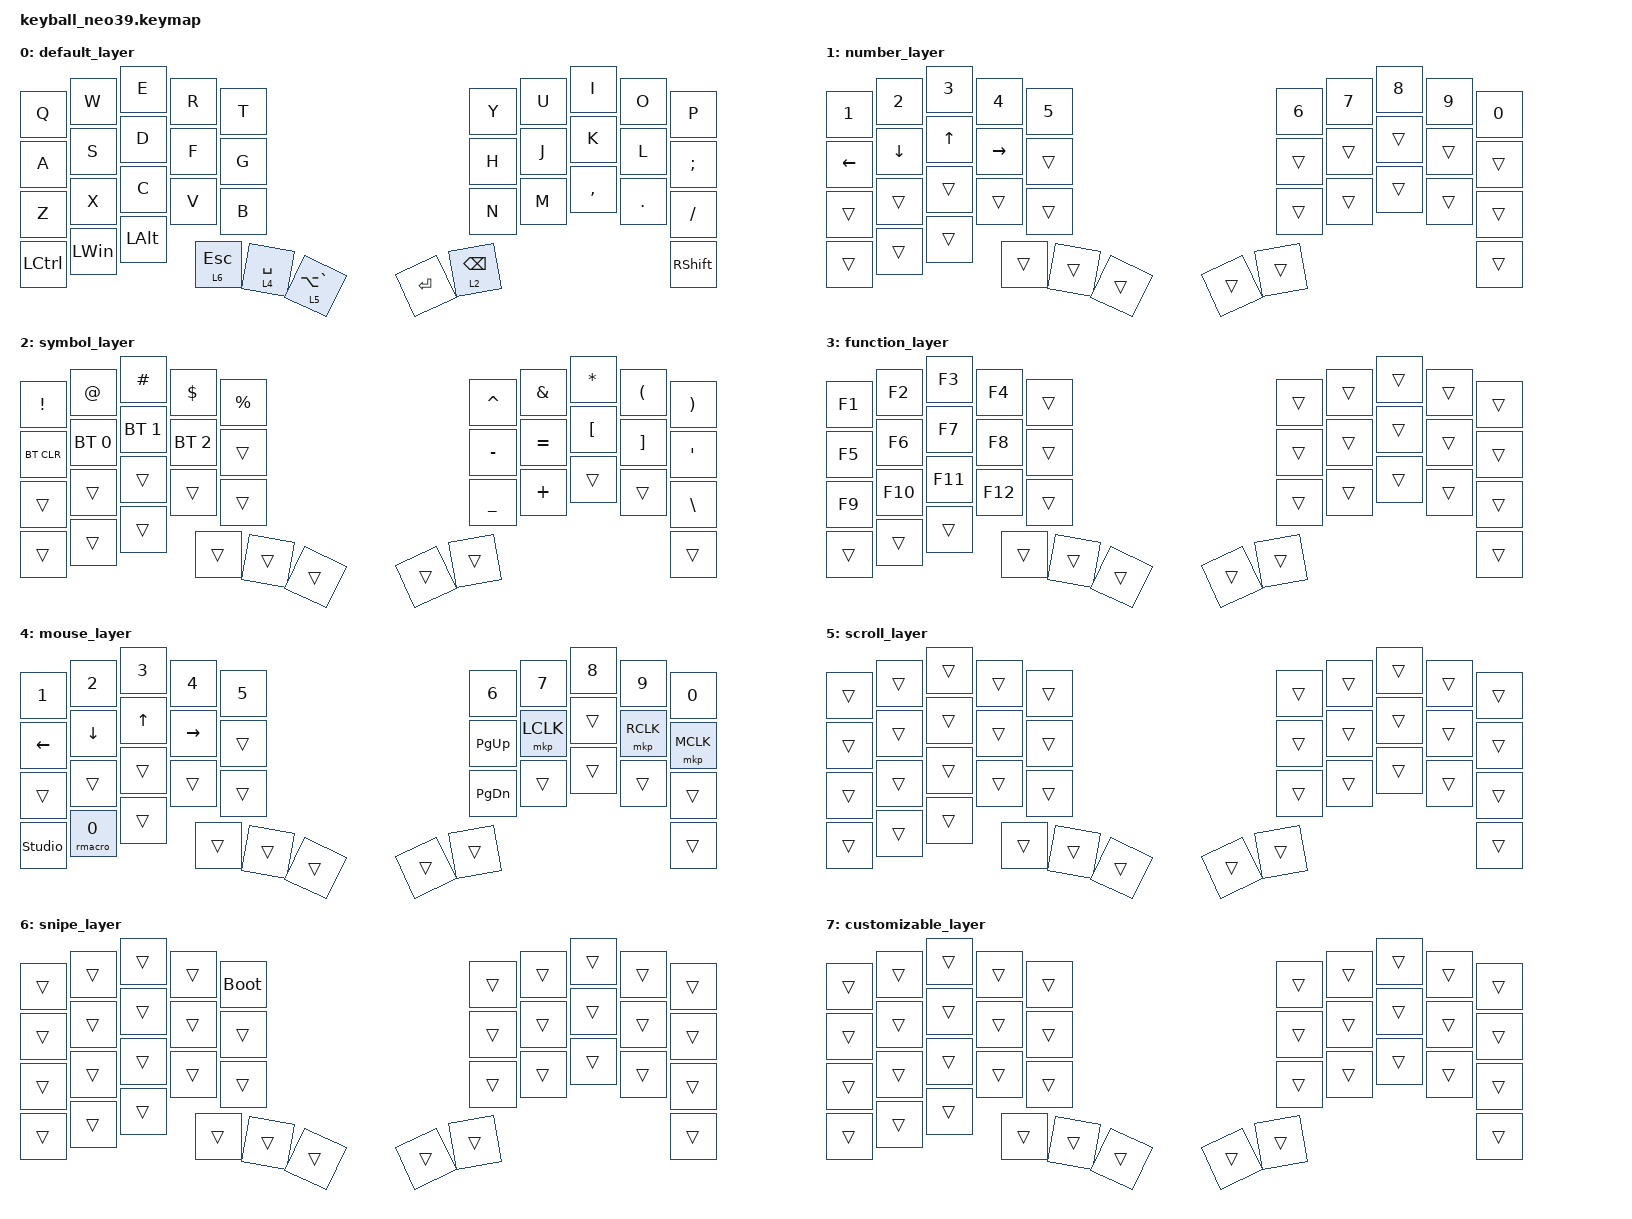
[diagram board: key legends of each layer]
#include <behaviors.dtsi>
#include <behaviors/runtime_macro.dtsi>
#include <dt-bindings/zmk/bt.h>
#include <dt-bindings/zmk/keys.h>
#include <dt-bindings/zmk/pointing.h>
#include <dt-bindings/input/input-event-codes.h>

/ {
    keymap {
        compatible = "zmk,keymap";

        default_layer {
            bindings = <
  &kp Q      &kp W         &kp E         &kp R         &kp T                                    &kp Y            &kp U  &kp I      &kp O       &kp P
  &kp A      &kp S         &kp D         &kp F         &kp G                                    &kp H            &kp J  &kp K      &kp L       &kp SEMI
  &kp Z      &kp X         &kp C         &kp V         &kp B                                    &kp N            &kp M  &kp COMMA  &kp PERIOD  &kp SLASH
  &kp LCTRL  &kp LEFT_WIN  &kp LEFT_ALT  &lt 6 ESCAPE  &lt 4 SPACE  &lt 5 LA(GRAVE)  &kp ENTER  &lt 2 BACKSPACE                                &kp RIGHT_SHIFT
            >;
        };

        number_layer {
            bindings = <
  &kp NUMBER_1    &kp NUMBER_2    &kp NUMBER_3  &kp NUMBER_4     &kp NUMBER_5                  &kp NUMBER_6  &kp NUMBER_7  &kp NUMBER_8  &kp NUMBER_9  &kp NUMBER_0
  &kp LEFT_ARROW  &kp DOWN_ARROW  &kp UP_ARROW  &kp RIGHT_ARROW  &trans                        &trans        &trans        &trans        &trans        &trans
  &trans          &trans          &trans        &trans           &trans                        &trans        &trans        &trans        &trans        &trans
  &trans          &trans          &trans        &trans           &trans        &trans  &trans  &trans                                                  &trans
            >;
        };

        symbol_layer {
            bindings = <
  &kp EXCLAMATION  &kp AT_SIGN   &kp HASH      &kp DOLLAR    &kp PERCENT                  &kp CARET       &kp AMPERSAND  &kp ASTERISK      &kp LEFT_PARENTHESIS  &kp RIGHT_PARENTHESIS
  &bt BT_CLR       &bt BT_SEL 0  &bt BT_SEL 1  &bt BT_SEL 2  &trans                       &kp MINUS       &kp EQUAL      &kp LEFT_BRACKET  &kp RIGHT_BRACKET     &kp SQT
  &trans           &trans        &trans        &trans        &trans                       &kp UNDERSCORE  &kp PLUS       &trans            &trans                &kp BACKSLASH
  &trans           &trans        &trans        &trans        &trans       &trans  &trans  &trans                                                                 &trans
            >;
        };

        function_layer {
            bindings = <
  &kp F1  &kp F2   &kp F3   &kp F4   &trans                  &trans  &trans  &trans  &trans  &trans
  &kp F5  &kp F6   &kp F7   &kp F8   &trans                  &trans  &trans  &trans  &trans  &trans
  &kp F9  &kp F10  &kp F11  &kp F12  &trans                  &trans  &trans  &trans  &trans  &trans
  &trans  &trans   &trans   &trans   &trans  &trans  &trans  &trans                          &trans
            >;
        };

        mouse_layer {
            bindings = <
  &kp N1          &kp N2          &kp N3        &kp N4     &kp N5                  &kp N6         &kp N7     &kp N8  &kp N9     &kp N0
  &kp LEFT_ARROW  &kp DOWN_ARROW  &kp UP_ARROW  &kp RIGHT  &trans                  &kp PAGE_UP    &mkp LCLK  &trans  &mkp RCLK  &mkp MCLK
  &trans          &trans          &trans        &trans     &trans                  &kp PAGE_DOWN  &trans     &trans  &trans     &trans
  &studio_unlock  &rmacro 0       &trans        &trans     &trans  &trans  &trans  &trans                                       &trans
            >;
        };

        scroll_layer {
            bindings = <
  &trans  &trans  &trans  &trans  &trans                  &trans  &trans  &trans  &trans  &trans
  &trans  &trans  &trans  &trans  &trans                  &trans  &trans  &trans  &trans  &trans
  &trans  &trans  &trans  &trans  &trans                  &trans  &trans  &trans  &trans  &trans
  &trans  &trans  &trans  &trans  &trans  &trans  &trans  &trans                          &trans
            >;
        };

        snipe_layer {
            bindings = <
  &trans  &trans  &trans  &trans  &bootloader                  &trans  &trans  &trans  &trans  &trans
  &trans  &trans  &trans  &trans  &trans                       &trans  &trans  &trans  &trans  &trans
  &trans  &trans  &trans  &trans  &trans                       &trans  &trans  &trans  &trans  &trans
  &trans  &trans  &trans  &trans  &trans       &trans  &trans  &trans                          &trans
            >;
        };

        customizable_layer {
            bindings = <
  &trans  &trans  &trans  &trans  &trans                  &trans  &trans  &trans  &trans  &trans
  &trans  &trans  &trans  &trans  &trans                  &trans  &trans  &trans  &trans  &trans
  &trans  &trans  &trans  &trans  &trans                  &trans  &trans  &trans  &trans  &trans
  &trans  &trans  &trans  &trans  &trans  &trans  &trans  &trans                          &trans
            >;
        };
    };
};

// ---------------------------------------------------------------------------
// Trackball runtime input processors (DYA Studio "Trackball" tab)
//
// The defaults live in <input/processors/runtime-input-processor.dtsi>; only
// the behaviour that is specific to this keymap is set here. Everything else
// (speed, rotation, axis snap, ...) can be changed from DYA Studio and is
// stored in the keyboard's settings.
// ---------------------------------------------------------------------------

&mouse_runtime_input_processor {
    // Auto mouse layer: while the ball is moving the MOUSE layer (4) is held
    // active, so the ball also clicks/scrolls like a mouse without reaching
    // for a layer key first.
    temp-layer-enabled;
    temp-layer = <4>;
    temp-layer-activation-delay-ms = <200>;
    temp-layer-deactivation-delay-ms = <400>;
};

&scroll_runtime_input_processor {
    // Only on the SCROLL layer (5) movement is turned into wheel scrolling.
    active-layers = <BIT(5)>;
    x-codes = <INPUT_REL_X>;
    y-codes = <INPUT_REL_Y>;
    xy-to-scroll-enabled;
    axis-snap-threshold = <100>;
};
